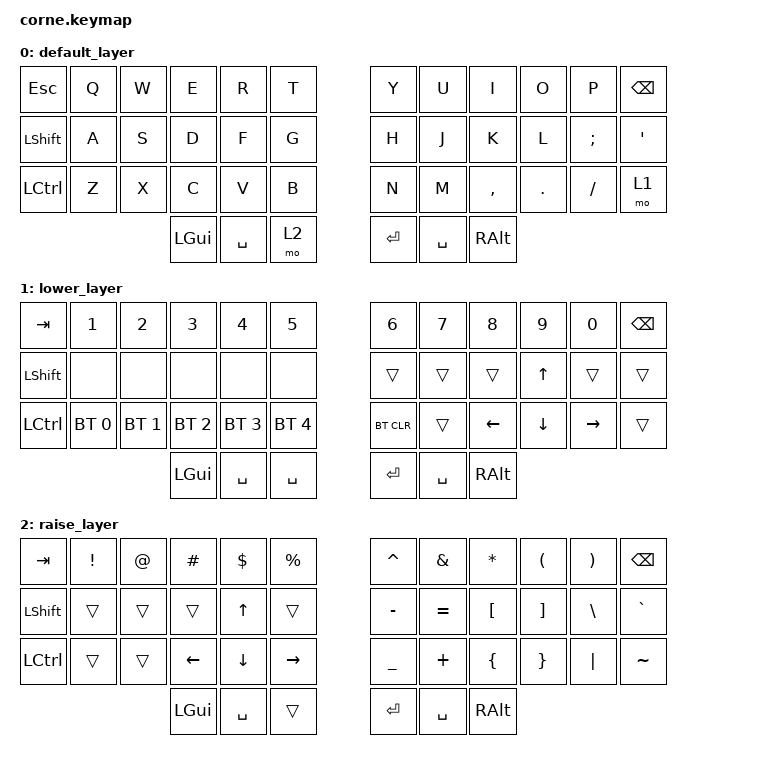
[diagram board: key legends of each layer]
/*
 * Copyright (c) 2020 The ZMK Contributors
 *
 * SPDX-License-Identifier: MIT
 */

#include <behaviors.dtsi>
#include <dt-bindings/zmk/keys.h>
#include <dt-bindings/zmk/bt.h>

#include <behaviors.dtsi>
#include <dt-bindings/zmk/bt.h>
#include <dt-bindings/zmk/keys.h>

#include <behaviors.dtsi>
#include <dt-bindings/zmk/bt.h>
#include <dt-bindings/zmk/keys.h>

#include <behaviors.dtsi>
#include <dt-bindings/zmk/bt.h>
#include <dt-bindings/zmk/keys.h>

/ {
    keymap {
        compatible = "zmk,keymap";

        default_layer {
            // -----------------------------------------------------------------------------------------
            // |  ESC |  Q  |  W  |  E  |  R  |  T  |   |  Y  |  U   |  I  |  O  |  P  | BKSP |
            // | SHFT |  A  |  S  |  D  |  F  |  G  |   |  H  |  J   |  K  |  L  |  ;  |  '   |
            // | CTRL |  Z  |  X  |  C  |  V  |  B  |   |  N  |  M   |  ,  |  .  |  /  | LWR  |
            //                    | GUI | SPC | RSE |   | ENT | SPC  | ALT |

            bindings = <
&kp ESC           &kp Q  &kp W  &kp E     &kp R      &kp T    &kp Y    &kp U      &kp I      &kp O    &kp P     &kp BSPC
&kp LEFT_SHIFT    &kp A  &kp S  &kp D     &kp F      &kp G    &kp H    &kp J      &kp K      &kp L    &kp SEMI  &kp SQT
&kp LEFT_CONTROL  &kp Z  &kp X  &kp C     &kp V      &kp B    &kp N    &kp M      &kp COMMA  &kp DOT  &kp FSLH  &mo 1
                                &kp LGUI  &kp SPACE  &mo 2    &kp RET  &kp SPACE  &kp RALT
            >;
        };

        lower_layer {
            // -----------------------------------------------------------------------------------------
            // |  TAB |  1  |  2  |  3  |  4  |  5  |   |  6  |  7  |  8  |  9  |  0  | BKSP |
            // | SHFT |     |     |     |     |     |   |     |     |     |  UP |     |      |
            // | CTRL | BT1 | BT2 | BT3 | BT4 | BT5 |   |BTCLR|     | LFT | DWN | RGT |      |
            //                    | GUI | SPC |     |   | ENT | SPC | ALT |

            bindings = <
&kp TAB           &kp N1        &kp N2        &kp N3        &kp N4        &kp N5          &kp N6      &kp N7     &kp N8          &kp N9          &kp N0           &kp BSPC
&kp LEFT_SHIFT    &none         &none         &none         &none         &none           &trans      &trans     &trans          &kp UP_ARROW    &trans           &trans
&kp LEFT_CONTROL  &bt BT_SEL 0  &bt BT_SEL 1  &bt BT_SEL 2  &bt BT_SEL 3  &bt BT_SEL 4    &bt BT_CLR  &trans     &kp LEFT_ARROW  &kp DOWN_ARROW  &kp RIGHT_ARROW  &trans
                                              &kp LGUI      &kp SPACE     &kp SPACE       &kp RET     &kp SPACE  &kp RALT
            >;
        };

        raise_layer {
            // -----------------------------------------------------------------------------------------
            // |  TAB |  !  |  @  |  #  |  $  |  %  |   |  ^  |  &  |  *  |  (  |  )  | BKSP |
            // | SHFT |     |     | UP  |     |     |   |  -  |  =  |  [  |  ]  |  \  |  `   |
            // | CTRL |     | LFT | DWN | RGT |     |   |  _  |  +  |  {  |  }  | "|" |  ~   |
            //                    | GUI | SPC |     |   | ENT | SPC | ALT |

            bindings = <
&kp TAB           &kp EXCL  &kp AT  &kp HASH        &kp DLLR        &kp PRCNT          &kp CARET  &kp AMPS   &kp ASTRK  &kp LPAR  &kp RPAR  &kp BSPC
&kp LEFT_SHIFT    &trans    &trans  &trans          &kp UP_ARROW    &trans             &kp MINUS  &kp EQUAL  &kp LBKT   &kp RBKT  &kp BSLH  &kp GRAVE
&kp LEFT_CONTROL  &trans    &trans  &kp LEFT_ARROW  &kp DOWN_ARROW  &kp RIGHT_ARROW    &kp UNDER  &kp PLUS   &kp LBRC   &kp RBRC  &kp PIPE  &kp TILDE
                                    &kp LGUI        &kp SPACE       &trans             &kp RET    &kp SPACE  &kp RALT
            >;
        };
    };
};
